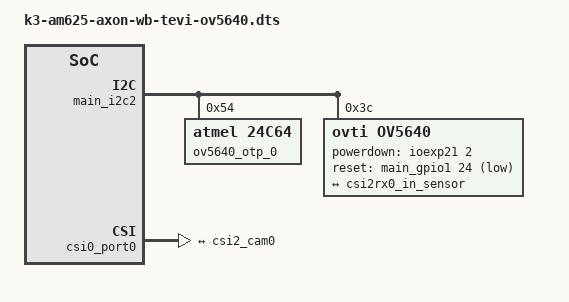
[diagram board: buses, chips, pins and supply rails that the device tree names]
// SPDX-License-Identifier: GPL-2.0
/*
 * Copyright (C) 2021-2022 Texas Instruments Incorporated - https://www.ti.com/
 * Copyright 2023 TechNexion Ltd.
 *
 * Author: Ray Chang <ray.chang@technexion.com>
 *
 */

/dts-v1/;
/plugin/;

#include <dt-bindings/gpio/gpio.h>

/ {
	fragment@101 {
		target-path = "/";

		__overlay__ {
			clk_ov5640_fixed: ov5640-xclk {
				compatible = "fixed-clock";
				#clock-cells = <0>;
				clock-frequency = <24000000>;
			};
		};
	};
};

/* I2C_B */
&main_i2c2 {
	#address-cells = <1>;
	#size-cells = <0>;

	ov5640_otp_0: eeprom@54 {
		compatible = "atmel,24c64";
		reg = <0x54>;
		read-only;
	};

	ov5640: camera@3c {
		compatible = "ovti,ov5640";
		reg = <0x3c>;
		pinctrl-names = "default";
		pinctrl-0 = <&main_gpio1_csi_ctrl_pins_default>;

		clocks = <&clk_ov5640_fixed>;
		clock-names = "xclk";

		powerdown-gpios = <&ioexp21 2 GPIO_ACTIVE_HIGH>;
		reset-gpios = <&main_gpio1 24 GPIO_ACTIVE_LOW>; /* CSI_nRST, GPIO_X3_P65 */
		nvmem = <&ov5640_otp_0>;
		nvmem-names = "calib-data";

		port {
			csi2_cam0: endpoint {
				remote-endpoint = <&csi2rx0_in_sensor>;
				clock-lanes = <0>;
				data-lanes = <1 2>;
			};
		};
	};
};

&csi0_port0 {
	status = "okay";

	csi2rx0_in_sensor: endpoint {
		remote-endpoint = <&csi2_cam0>;
		bus-type = <4>; /* CSI2 DPHY. */
		clock-lanes = <0>;
		data-lanes = <1 2>;
	};
};
